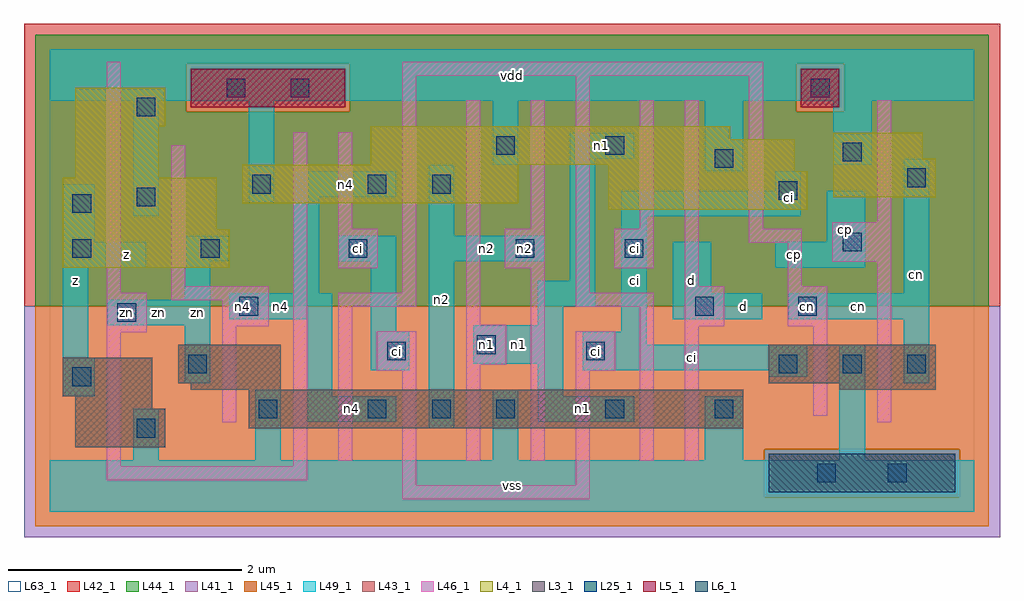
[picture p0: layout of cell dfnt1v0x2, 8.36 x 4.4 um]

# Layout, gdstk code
import gdstk
lib = gdstk.Library(unit=1e-6, precision=1e-09)
def R(c, l, rs):  # rectangles x0, y0, x1, y1
    for r in rs: c.add(gdstk.rectangle(r[:2], r[2:], *l))
def A(c, l, x, y, w, h, nx, ny, dx, dy):  # array of equal rectangles
    R(c, l, [(x+i*dx, y+j*dy, x+i*dx+w, y+j*dy+h) for i in range(nx) for j in range(ny)])
L3_1 = (3, 1)
L4_1 = (4, 1)
L5_1 = (5, 1)
L6_1 = (6, 1)
L25_1 = (25, 1)
L41_1 = (41, 1)
L42_1 = (42, 1)
L43_1 = (43, 1)
L44_1 = (44, 1)
L45_1 = (45, 1)
L46_1 = (46, 1)
L49_1 = (49, 1)
L63_1 = (63, 1)

dfnt1v0x2 = lib.new_cell('dfnt1v0x2')
R(dfnt1v0x2, L3_1, [(0.22,0.55,0.99,0.88), (1.705,0.715,5.94,1.045), (0.22,0.88,0.88,0.99), (0.11,0.99,0.88,1.32), (1.21,1.045,1.98,1.1), (6.765,1.045,7.59,1.1), (1.1,1.1,1.98,1.43), (6.16,1.1,7.59,1.43)])
R(dfnt1v0x2, L4_1, [(0.11,2.09,1.54,2.42), (0.11,2.42,1.43,2.86), (4.785,2.585,6.49,2.915), (1.65,2.64,4.015,2.97), (6.71,2.695,7.59,3.025), (0.22,2.86,0.935,3.3), (4.785,2.915,6.38,2.97), (2.75,2.97,6.38,3.19), (6.71,3.025,7.48,3.245), (2.75,3.19,5.83,3.3), (0.22,3.3,0.99,3.63)])
R(dfnt1v0x2, L5_1, [(1.21,3.465,2.53,3.795), (6.435,3.465,6.765,3.795)])
R(dfnt1v0x2, L6_1, [(6.16,0.165,7.755,0.495)])
A(dfnt1v0x2, L25_1, 2.725, 0.8, 0.16, 0.16, 3, 1, 0.55, 0)
A(dfnt1v0x2, L25_1, 6.245, 1.185, 0.16, 0.16, 3, 1, 0.55, 0)
R(dfnt1v0x2, L25_1, [(6.575,0.25,6.735,0.41), (7.18,0.25,7.34,0.41), (0.745,0.635,0.905,0.795), (1.79,0.8,1.95,0.96), (4.76,0.8,4.92,0.96), (5.695,0.8,5.855,0.96), (0.195,1.075,0.355,1.235), (1.185,1.185,1.345,1.345), (2.89,1.295,3.05,1.455), (4.595,1.295,4.755,1.455), (3.66,1.35,3.82,1.51), (0.58,1.625,0.74,1.785), (1.625,1.68,1.785,1.84), (5.53,1.68,5.69,1.84), (6.41,1.68,6.57,1.84), (0.195,2.175,0.355,2.335), (1.295,2.175,1.455,2.335), (2.56,2.175,2.72,2.335), (3.99,2.175,4.15,2.335), (4.925,2.175,5.085,2.335), (6.795,2.23,6.955,2.39), (0.195,2.56,0.355,2.72), (0.745,2.615,0.905,2.775), (6.245,2.67,6.405,2.83), (1.735,2.725,1.895,2.885), (2.725,2.725,2.885,2.885), (3.275,2.725,3.435,2.885), (7.345,2.78,7.505,2.94), (5.695,2.945,5.855,3.105), (6.795,3,6.955,3.16), (3.825,3.055,3.985,3.215), (4.76,3.055,4.92,3.215), (0.745,3.385,0.905,3.545), (1.515,3.55,1.675,3.71), (2.065,3.55,2.225,3.71), (6.52,3.55,6.68,3.71)])
R(dfnt1v0x2, L41_1, [(-0.22,-0.22,8.14,1.76)])
R(dfnt1v0x2, L42_1, [(-0.22,1.76,8.14,4.18)])
R(dfnt1v0x2, L43_1, [(6.16,0.165,7.755,0.495), (0.22,0.55,0.99,0.88), (1.705,0.715,5.94,1.045), (0.22,0.88,0.88,0.99), (0.11,0.99,0.88,1.32), (1.21,1.045,1.98,1.1), (6.765,1.045,7.59,1.1), (1.1,1.1,1.98,1.43), (6.16,1.1,7.59,1.43), (0.11,2.09,1.54,2.42), (0.11,2.42,1.43,2.86), (4.785,2.585,6.49,2.915), (1.65,2.64,4.015,2.97), (6.71,2.695,7.59,3.025), (0.22,2.86,0.935,3.3), (4.785,2.915,6.38,2.97), (2.75,2.97,6.38,3.19), (6.71,3.025,7.48,3.245), (2.75,3.19,5.83,3.3), (0.22,3.3,0.99,3.63), (1.21,3.465,2.53,3.795), (6.435,3.465,6.765,3.795)])
R(dfnt1v0x2, L44_1, [(6.12,0.125,7.795,0.535), (-0.125,1.76,8.045,3.425), (-0.125,3.425,1.17,3.835), (2.57,3.425,6.395,3.835), (6.805,3.425,8.045,3.835), (-0.125,3.835,8.045,4.085)])
R(dfnt1v0x2, L45_1, [(-0.125,-0.125,8.045,0.125), (-0.125,0.125,6.12,0.535), (7.795,0.125,8.045,0.535), (-0.125,0.535,8.045,1.76), (1.17,3.425,2.57,3.835), (6.395,3.425,6.805,3.835)])
R(dfnt1v0x2, L46_1, [(3.02,0.105,4.625,0.225), (3.02,0.225,3.14,1.205), (4.505,0.225,4.625,1.205), (0.49,0.27,2.205,0.39), (0.49,0.39,0.61,1.535), (2.085,0.39,2.205,3.25), (2.47,0.435,2.59,1.755), (3.57,0.435,3.69,1.26), (4.12,0.435,4.24,2.085), (5.055,0.435,5.175,1.755), (5.44,0.435,5.56,1.59), (1.48,0.765,1.6,1.59), (7.09,0.765,7.21,2.14), (6.54,0.82,6.66,1.59), (2.8,1.205,3.14,1.545), (4.505,1.205,4.845,1.545), (3.57,1.26,3.91,1.6), (0.49,1.535,0.83,1.875), (1.48,1.59,1.875,1.81), (5.44,1.59,5.78,1.93), (6.32,1.59,6.66,1.93), (3.57,1.6,3.69,3.525), (2.47,1.755,3.14,1.875), (4.505,1.755,5.175,1.875), (1.04,1.81,1.875,1.93), (0.49,1.875,0.61,3.855), (3.02,1.875,3.14,3.735), (4.505,1.875,4.625,3.735), (1.04,1.93,1.16,3.14), (5.44,1.93,5.56,3.525), (6.32,1.93,6.44,2.305), (2.47,2.085,2.81,2.425), (3.9,2.085,4.24,2.425), (4.835,2.085,5.175,2.425), (6.705,2.14,7.21,2.48), (5.99,2.305,6.44,2.425), (2.47,2.425,2.59,3.25), (4.12,2.425,4.24,3.525), (5.055,2.425,5.175,3.525), (5.99,2.425,6.11,3.735), (7.09,2.48,7.21,3.525), (3.02,3.735,6.11,3.855)])
R(dfnt1v0x2, L49_1, [(0,0,7.92,0.44), (0.715,0.44,0.935,0.88), (1.76,0.44,1.98,1.045), (3.795,0.44,4.015,1.045), (5.61,0.44,5.94,0.99), (6.765,0.44,6.985,1.43), (3.245,0.715,3.465,2.145), (2.2,0.77,2.97,0.99), (4.18,0.77,5.005,0.99), (0.11,0.99,0.385,1.32), (2.2,0.99,2.42,1.65), (4.18,0.99,4.4,1.265), (1.155,1.1,1.375,1.595), (7.315,1.1,7.535,1.65), (6.16,1.155,6.49,1.21), (2.75,1.21,3.08,1.54), (4.565,1.21,6.49,1.43), (3.63,1.265,4.4,1.595), (0.11,1.32,0.33,2.09), (4.565,1.43,5.115,1.54), (2.75,1.54,2.97,2.145), (4.895,1.54,5.115,2.53), (0.495,1.595,1.375,1.815), (4.18,1.595,4.4,1.76), (1.54,1.65,2.42,1.87), (5.335,1.65,6.105,1.87), (6.325,1.65,7.535,1.87), (4.18,1.76,4.675,1.98), (1.155,1.815,1.375,2.145), (2.09,1.87,2.31,2.695), (5.335,1.87,5.665,2.31), (7.315,1.87,7.535,3.025), (4.455,1.98,4.675,3.025), (0.11,2.09,0.825,2.31), (6.215,2.09,6.985,2.31), (1.155,2.145,1.54,2.365), (2.475,2.145,2.97,2.365), (3.245,2.145,4.235,2.365), (0.11,2.31,0.385,2.805), (6.655,2.31,6.985,2.75), (3.245,2.365,3.465,2.97), (0.715,2.53,0.935,3.52), (4.895,2.53,6.435,2.75), (1.705,2.64,1.925,3.52), (2.09,2.695,2.97,2.915), (6.215,2.75,6.435,2.915), (5.61,2.915,5.94,3.52), (3.795,2.97,4.015,3.52), (6.71,2.97,7.04,3.52), (4.455,3.025,5.005,3.245), (0,3.52,7.92,3.96)])
R(dfnt1v0x2, L63_1, [(0,0,7.92,3.96)])
dfnt1v0x2.add(gdstk.Label('zn', (0.66,1.705), layer=49, texttype=1))
dfnt1v0x2.add(gdstk.Label('n4', (1.65,1.76), layer=49, texttype=1))
dfnt1v0x2.add(gdstk.Label('ci', (2.97,1.375), layer=49, texttype=1))
dfnt1v0x2.add(gdstk.Label('ci', (2.64,2.255), layer=49, texttype=1))
dfnt1v0x2.add(gdstk.Label('n1', (3.74,1.43), layer=49, texttype=1))
dfnt1v0x2.add(gdstk.Label('ci', (4.675,1.375), layer=49, texttype=1))
dfnt1v0x2.add(gdstk.Label('ci', (5.005,2.255), layer=49, texttype=1))
dfnt1v0x2.add(gdstk.Label('n2', (4.07,2.255), layer=49, texttype=1))
dfnt1v0x2.add(gdstk.Label('cn', (6.49,1.76), layer=49, texttype=1))
dfnt1v0x2.add(gdstk.Label('zn', (0.935,1.705), layer=49, texttype=1))
dfnt1v0x2.add(gdstk.Label('z', (0.22,1.98), layer=49, texttype=1))
dfnt1v0x2.add(gdstk.Label('z', (0.66,2.2), layer=49, texttype=1))
dfnt1v0x2.add(gdstk.Label('zn', (1.265,1.705), layer=49, texttype=1))
dfnt1v0x2.add(gdstk.Label('n4', (2.585,0.88), layer=49, texttype=1))
dfnt1v0x2.add(gdstk.Label('ci', (2.915,1.375), layer=49, texttype=1))
dfnt1v0x2.add(gdstk.Label('n4', (1.98,1.76), layer=49, texttype=1))
dfnt1v0x2.add(gdstk.Label('ci', (2.695,2.255), layer=49, texttype=1))
dfnt1v0x2.add(gdstk.Label('n4', (2.53,2.805), layer=49, texttype=1))
dfnt1v0x2.add(gdstk.Label('vss', (3.96,0.22), layer=49, texttype=1))
dfnt1v0x2.add(gdstk.Label('n1', (4.015,1.43), layer=49, texttype=1))
dfnt1v0x2.add(gdstk.Label('n2', (3.74,2.255), layer=49, texttype=1))
dfnt1v0x2.add(gdstk.Label('n2', (3.355,1.815), layer=49, texttype=1))
dfnt1v0x2.add(gdstk.Label('vdd', (3.96,3.74), layer=49, texttype=1))
dfnt1v0x2.add(gdstk.Label('n1', (4.565,0.88), layer=49, texttype=1))
dfnt1v0x2.add(gdstk.Label('d', (5.94,1.76), layer=49, texttype=1))
dfnt1v0x2.add(gdstk.Label('d', (5.5,1.98), layer=49, texttype=1))
dfnt1v0x2.add(gdstk.Label('ci', (5.005,1.98), layer=49, texttype=1))
dfnt1v0x2.add(gdstk.Label('n1', (4.73,3.135), layer=49, texttype=1))
dfnt1v0x2.add(gdstk.Label('ci', (5.5,1.32), layer=49, texttype=1))
dfnt1v0x2.add(gdstk.Label('cn', (6.93,1.76), layer=49, texttype=1))
dfnt1v0x2.add(gdstk.Label('cp', (6.38,2.2), layer=49, texttype=1))
dfnt1v0x2.add(gdstk.Label('cp', (6.82,2.42), layer=49, texttype=1))
dfnt1v0x2.add(gdstk.Label('cn', (7.425,2.035), layer=49, texttype=1))
dfnt1v0x2.add(gdstk.Label('ci', (6.325,2.695), layer=49, texttype=1))

lib.write_gds('dfnt1v0x2.gds')
